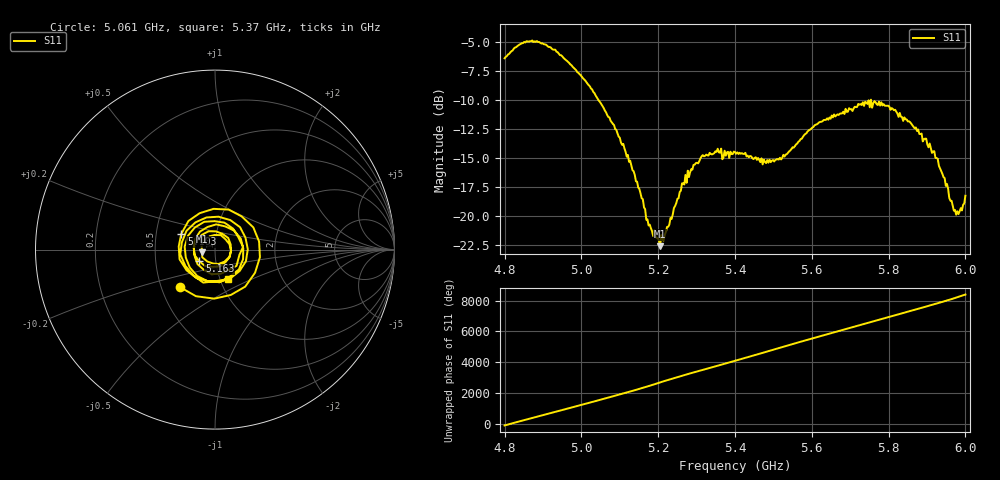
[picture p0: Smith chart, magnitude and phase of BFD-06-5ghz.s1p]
! NanoVNA-App
! Date: 2026-05-22 18:18:43
! Start: 4.8GHz Stop: 6GHz Points: 401
! S-Parameter data: F S11
# Hz S RI R 50
!  Frequency  S11_Real  S11_Imag
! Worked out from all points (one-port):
!   401 points, 4.8 GHz to 6 GHz, reference 50 ohm
!   lowest |S11| = -22.6 dB at 5.205 GHz (marker M1), VSWR 1.16, Z = 43.2 - j0.977 ohm
!   |S11| at or under -10 dB: 5.045 GHz to 5.754 GHz (709.1 MHz wide, 13.1 % of centre); 5.754 GHz to end of sweep
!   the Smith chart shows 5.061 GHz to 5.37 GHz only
!   S11 on the Smith chart (normalised r, x): 5.061 GHz: 0.63, -0.29; 5.103 GHz: 0.67, +0.12; 5.163 GHz: 0.83, -0.11; 5.37 GHz: 1.09, -0.37
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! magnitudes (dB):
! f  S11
! 4.8 GHz  -6.4
! 4.866 GHz  -4.9
! 4.95 GHz  -6.2
! 5.016 GHz  -8.6
! 5.061 GHz  -10.9
! 5.1 GHz  -13.2
! 5.103 GHz  -13.7
! 5.133 GHz  -16.0
! 5.163 GHz  -19.2
! 5.181 GHz  -21.1
! 5.205 GHz  -22.6
! 5.22 GHz  -21.4
! 5.25 GHz  -18.5
! 5.271 GHz  -16.5
! 5.313 GHz  -14.9
! 5.358 GHz  -14.5
! 5.37 GHz  -14.9
! 5.4 GHz  -14.5
! 5.487 GHz  -15.4
! 5.55 GHz  -14.1
! 5.613 GHz  -12.1
! 5.7 GHz  -10.8
! 5.769 GHz  -10.3
! 5.85 GHz  -11.8
! 5.922 GHz  -15.0
! 5.976 GHz  -19.9
! 5.988 GHz  -19.3
! 6 GHz  -18.2
